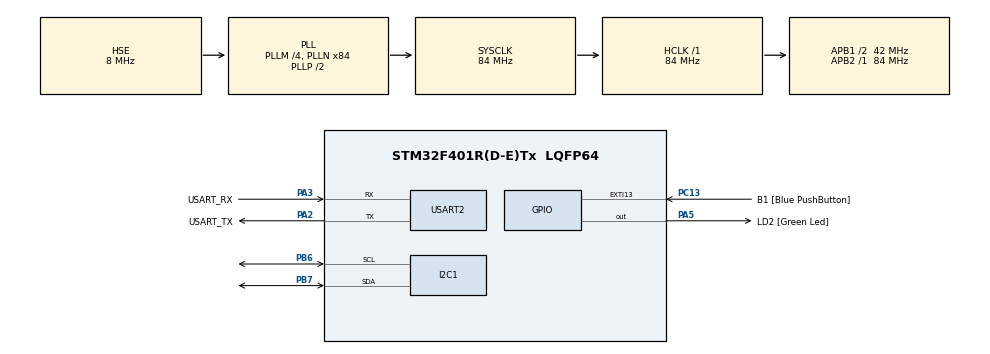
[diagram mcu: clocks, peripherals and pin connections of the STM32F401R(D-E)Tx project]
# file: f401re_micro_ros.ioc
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Dma.Request0=USART2_RX
Dma.Request1=USART2_TX
Dma.USART2_RX.0.Direction=DMA_PERIPH_TO_MEMORY
Dma.USART2_RX.0.FIFOMode=DMA_FIFOMODE_DISABLE
Dma.USART2_RX.0.Instance=DMA1_Stream5
Dma.USART2_RX.0.MemDataAlignment=DMA_MDATAALIGN_BYTE
Dma.USART2_RX.0.MemInc=DMA_MINC_ENABLE
Dma.USART2_RX.0.Mode=DMA_CIRCULAR
Dma.USART2_RX.0.PeriphDataAlignment=DMA_PDATAALIGN_BYTE
Dma.USART2_RX.0.PeriphInc=DMA_PINC_DISABLE
Dma.USART2_RX.0.Priority=DMA_PRIORITY_VERY_HIGH
Dma.USART2_TX.1.Direction=DMA_MEMORY_TO_PERIPH
Dma.USART2_TX.1.FIFOMode=DMA_FIFOMODE_DISABLE
Dma.USART2_TX.1.Instance=DMA1_Stream6
Dma.USART2_TX.1.MemDataAlignment=DMA_MDATAALIGN_BYTE
Dma.USART2_TX.1.MemInc=DMA_MINC_ENABLE
Dma.USART2_TX.1.Mode=DMA_NORMAL
Dma.USART2_TX.1.PeriphDataAlignment=DMA_PDATAALIGN_BYTE
Dma.USART2_TX.1.PeriphInc=DMA_PINC_DISABLE
Dma.USART2_TX.1.Priority=DMA_PRIORITY_VERY_HIGH
FREERTOS.Tasks01=defaultTask,24,3000,StartDefaultTask,Default,NULL,Static,defaultTaskBuffer,defaultTaskControlBlock
Mcu.Family=STM32F4
Mcu.Name=STM32F401R(D-E)Tx
Mcu.Package=LQFP64
NVIC.DMA1_Stream5_IRQn=true\:5\:0\:false\:false\:true\:true\:false\:true\:true
NVIC.DMA1_Stream6_IRQn=true\:5\:0\:false\:false\:true\:true\:false\:true\:true
NVIC.PriorityGroup=NVIC_PRIORITYGROUP_4
NVIC.TIM1_UP_TIM10_IRQn=true\:15\:0\:false\:false\:true\:false\:false\:true\:true
NVIC.TimeBase=TIM1_UP_TIM10_IRQn
NVIC.TimeBaseIP=TIM1
NVIC.USART2_IRQn=true\:5\:0\:false\:false\:true\:true\:true\:true\:true
PA13.GPIO_Label=TMS
PA13.Signal=SYS_JTMS-SWDIO
PA14.GPIO_Label=TCK
PA14.Signal=SYS_JTCK-SWCLK
PA2.GPIO_Label=USART_TX
PA2.GPIO_Mode=GPIO_MODE_AF_PP
PA2.GPIO_PuPd=GPIO_NOPULL
PA2.GPIO_Speed=GPIO_SPEED_FREQ_LOW
PA2.Mode=Asynchronous
PA2.Signal=USART2_TX
PA3.GPIO_Label=USART_RX
PA3.GPIO_Mode=GPIO_MODE_AF_PP
PA3.GPIO_PuPd=GPIO_NOPULL
PA3.GPIO_Speed=GPIO_SPEED_FREQ_LOW
PA3.Mode=Asynchronous
PA3.Signal=USART2_RX
PA5.GPIO_Label=LD2 [Green Led]
PA5.GPIO_Mode=GPIO_MODE_OUTPUT_PP
PA5.GPIO_PuPd=GPIO_NOPULL
PA5.GPIO_Speed=GPIO_SPEED_FREQ_LOW
PA5.Signal=GPIO_Output
PB3.GPIO_Label=SWO
PB3.Signal=SYS_JTDO-SWO
PB6.Mode=I2C
PB6.Signal=I2C1_SCL
PB7.Mode=I2C
PB7.Signal=I2C1_SDA
PC13-ANTI_TAMP.GPIO_Label=B1 [Blue PushButton]
PC13-ANTI_TAMP.GPIO_ModeDefaultEXTI=GPIO_MODE_IT_FALLING
PC13-ANTI_TAMP.GPIO_PuPd=GPIO_NOPULL
PC13-ANTI_TAMP.Signal=GPXTI13
PC14-OSC32_IN.Signal=RCC_OSC32_IN
PC15-OSC32_OUT.Signal=RCC_OSC32_OUT
PH0\ -\ OSC_IN.Mode=HSE-External-Oscillator
PH0\ -\ OSC_IN.Signal=RCC_OSC_IN
PH1\ -\ OSC_OUT.Mode=HSE-External-Oscillator
PH1\ -\ OSC_OUT.Signal=RCC_OSC_OUT
ProjectManager.HeapSize=0x200
ProjectManager.StackSize=0x400
ProjectManager.TargetToolchain=Makefile
RCC.48MHZClocksFreq_Value=24000000
RCC.AHBFreq_Value=84000000
RCC.APB1CLKDivider=RCC_HCLK_DIV2
RCC.APB1Freq_Value=42000000
RCC.APB1TimFreq_Value=84000000
RCC.APB2Freq_Value=84000000
RCC.APB2TimFreq_Value=84000000
RCC.CortexFreq_Value=84000000
RCC.HCLKFreq_Value=84000000
RCC.HSE_VALUE=8000000
RCC.HSI_VALUE=16000000
RCC.LSE_VALUE=32768
RCC.PLLM=4
RCC.PLLN=84
RCC.PLLQ=7
RCC.PLLSourceVirtual=RCC_PLLSOURCE_HSE
RCC.SYSCLKFreq_VALUE=84000000
RCC.SYSCLKSource=RCC_SYSCLKSOURCE_PLLCLK
RCC.VCOOutputFreq_Value=168000000
USART2.VirtualMode=VM_ASYNC
VP_FREERTOS_VS_CMSIS_V2.Mode=CMSIS_V2
VP_SYS_VS_tim1.Mode=TIM1
board=NUCLEO-F401RE

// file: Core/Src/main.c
/* USER CODE BEGIN Header */
/**
  ******************************************************************************
  * @file           : main.c
  * @brief          : Main program body
  ******************************************************************************
  * @attention
  *
  * Copyright (c) 2025 STMicroelectronics.
  * All rights reserved.
  *
  * This software is licensed under terms that can be found in the LICENSE file
  * in the root directory of this software component.
  * If no LICENSE file comes with this software, it is provided AS-IS.
  *
  ******************************************************************************
  */
/* USER CODE END Header */
#include "main.h"
#include "cmsis_os.h"
#include "dma.h"
#include "i2c.h"
#include "usart.h"
#include "gpio.h"

void SystemClock_Config(void);
void MX_FREERTOS_Init(void);

int main(void)
{

  /* MCU Configuration--------------------------------------------------------*/

  /* Reset of all peripherals, Initializes the Flash interface and the Systick. */
  HAL_Init();

  /* Configure the system clock */
  SystemClock_Config();

  /* Initialize all configured peripherals */
  MX_GPIO_Init();
  MX_DMA_Init();
  MX_USART2_UART_Init();
  MX_I2C1_Init();

  /* Init scheduler */
  osKernelInitialize();

  /* Call init function for freertos objects (in cmsis_os2.c) */
  MX_FREERTOS_Init();

  /* Start scheduler */
  osKernelStart();

  /* We should never get here as control is now taken by the scheduler */

  /* Infinite loop */
  while (1)
  {

  }
}

void SystemClock_Config(void)
{
  RCC_OscInitTypeDef RCC_OscInitStruct = {0};
  RCC_ClkInitTypeDef RCC_ClkInitStruct = {0};

  /** Configure the main internal regulator output voltage
  */
  __HAL_RCC_PWR_CLK_ENABLE();
  __HAL_PWR_VOLTAGESCALING_CONFIG(PWR_REGULATOR_VOLTAGE_SCALE2);

  /** Initializes the RCC Oscillators according to the specified parameters
  * in the RCC_OscInitTypeDef structure.
  */
  RCC_OscInitStruct.OscillatorType = RCC_OSCILLATORTYPE_HSE;
  RCC_OscInitStruct.HSEState = RCC_HSE_ON;
  RCC_OscInitStruct.PLL.PLLState = RCC_PLL_ON;
  RCC_OscInitStruct.PLL.PLLSource = RCC_PLLSOURCE_HSE;
  RCC_OscInitStruct.PLL.PLLM = 4;
  RCC_OscInitStruct.PLL.PLLN = 84;
  RCC_OscInitStruct.PLL.PLLP = RCC_PLLP_DIV2;
  RCC_OscInitStruct.PLL.PLLQ = 7;
  if (HAL_RCC_OscConfig(&RCC_OscInitStruct) != HAL_OK)
  {
    Error_Handler();
  }

  /** Initializes the CPU, AHB and APB buses clocks
  */
  RCC_ClkInitStruct.ClockType = RCC_CLOCKTYPE_HCLK|RCC_CLOCKTYPE_SYSCLK
                              |RCC_CLOCKTYPE_PCLK1|RCC_CLOCKTYPE_PCLK2;
  RCC_ClkInitStruct.SYSCLKSource = RCC_SYSCLKSOURCE_PLLCLK;
  RCC_ClkInitStruct.AHBCLKDivider = RCC_SYSCLK_DIV1;
  RCC_ClkInitStruct.APB1CLKDivider = RCC_HCLK_DIV2;
  RCC_ClkInitStruct.APB2CLKDivider = RCC_HCLK_DIV1;

  if (HAL_RCC_ClockConfig(&RCC_ClkInitStruct, FLASH_LATENCY_2) != HAL_OK)
  {
    Error_Handler();
  }
}

void HAL_TIM_PeriodElapsedCallback(TIM_HandleTypeDef *htim)
{
  if (htim->Instance == TIM1)
  {
    HAL_IncTick();
  }
}

void Error_Handler(void)
{
  __disable_irq();
  while (1)
  {
  }
}

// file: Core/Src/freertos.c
/* USER CODE BEGIN Header */
/**
  ******************************************************************************
  * File Name          : freertos.c
  * Description        : Code for freertos applications
  ******************************************************************************
  * @attention
  *
  * Copyright (c) 2025 STMicroelectronics.
  * All rights reserved.
  *
  * This software is licensed under terms that can be found in the LICENSE file
  * in the root directory of this software component.
  * If no LICENSE file comes with this software, it is provided AS-IS.
  *
  ******************************************************************************
  */
/* USER CODE END Header */

#include "FreeRTOS.h"
#include "task.h"
#include "main.h"
#include "cmsis_os.h"

/* USER CODE BEGIN Includes */
#include <rcl/rcl.h>
#include <rcl/error_handling.h>
#include <rclc/rclc.h>
#include <rclc/executor.h>
#include <uxr/client/transport.h>
#include <rmw_microxrcedds_c/config.h>
#include <rmw_microros/rmw_microros.h>

#include <std_msgs/msg/int32.h>
#include <std_msgs/msg/float32.h>
#include <stdbool.h>
#include <usart.h>
/* USER CODE END Includes */

typedef StaticTask_t osStaticThreadDef_t;

/* USER CODE BEGIN Variables */
float joint_values[7] = {0};

/* USER CODE END Variables */
/* Definitions for defaultTask */
osThreadId_t defaultTaskHandle;
uint32_t defaultTaskBuffer[ 3000 ];
osStaticThreadDef_t defaultTaskControlBlock;
const osThreadAttr_t defaultTask_attributes = {
  .name = "defaultTask",
  .cb_mem = &defaultTaskControlBlock,
  .cb_size = sizeof(defaultTaskControlBlock),
  .stack_mem = &defaultTaskBuffer[0],
  .stack_size = sizeof(defaultTaskBuffer),
  .priority = (osPriority_t) osPriorityNormal,
};

/* USER CODE BEGIN FunctionPrototypes */
bool cubemx_transport_open(struct uxrCustomTransport * transport);
bool cubemx_transport_close(struct uxrCustomTransport * transport);
size_t cubemx_transport_write(struct uxrCustomTransport* transport, const uint8_t * buf, size_t len, uint8_t * err);
size_t cubemx_transport_read(struct uxrCustomTransport* transport, uint8_t* buf, size_t len, int timeout, uint8_t* err);

void * microros_allocate(size_t size, void * state);
void microros_deallocate(void * pointer, void * state);
void * microros_reallocate(void * pointer, size_t size, void * state);
void * microros_zero_allocate(size_t number_of_elements, size_t size_of_element, void * state);
void servo_1_callback(const void * msgin) {
  const std_msgs__msg__Float32 * msg = (const std_msgs__msg__Float32 *)msgin;
  joint_values[0] = msg->data;
}
void servo_2_callback(const void * msgin) { joint_values[1] = ((std_msgs__msg__Float32 *)msgin)->data; }
void servo_3_callback(const void * msgin) { joint_values[2] = ((std_msgs__msg__Float32 *)msgin)->data; }
void servo_4_callback(const void * msgin) { joint_values[3] = ((std_msgs__msg__Float32 *)msgin)->data; }
void servo_5_callback(const void * msgin) { joint_values[4] = ((std_msgs__msg__Float32 *)msgin)->data; }
void servo_6_callback(const void * msgin) { joint_values[5] = ((std_msgs__msg__Float32 *)msgin)->data; }
void stepper_callback (const void * msgin) { joint_values[6] = ((std_msgs__msg__Float32 *)msgin)->data; }

/* USER CODE END FunctionPrototypes */

void StartDefaultTask(void *argument);

void MX_FREERTOS_Init(void); /* (MISRA C 2004 rule 8.1) */

void MX_FREERTOS_Init(void) {

  /* Create the thread(s) */
  /* creation of defaultTask */
  defaultTaskHandle = osThreadNew(StartDefaultTask, NULL, &defaultTask_attributes);

}

void StartDefaultTask(void *argument)
{
  /* USER CODE BEGIN StartDefaultTask */
  /* Infinite loop */
  // micro-ROS configuration

  rmw_uros_set_custom_transport(
    true,
    (void *) &huart2,
    cubemx_transport_open,
    cubemx_transport_close,
    cubemx_transport_write,
    cubemx_transport_read);

  rcl_allocator_t freeRTOS_allocator = rcutils_get_zero_initialized_allocator();
  freeRTOS_allocator.allocate = microros_allocate;
  freeRTOS_allocator.deallocate = microros_deallocate;
  freeRTOS_allocator.reallocate = microros_reallocate;
  freeRTOS_allocator.zero_allocate =  microros_zero_allocate;

  if (!rcutils_set_default_allocator(&freeRTOS_allocator)) {
      printf("Error on default allocators (line %d)\n", __LINE__);
  }

  // micro-ROS app

  rcl_publisher_t publisher;
  std_msgs__msg__Float32 msg;
  rclc_support_t support;
  rcl_allocator_t allocator;
  rcl_node_t node;
  rcl_subscription_t subscriber_1;
  rcl_subscription_t subscriber_2;
  rcl_subscription_t subscriber_3;
  rcl_subscription_t subscriber_4;
  rcl_subscription_t subscriber_5;
  rcl_subscription_t subscriber_6;
  rcl_subscription_t subscriber_7;
  std_msgs__msg__Float32 msg1;
  std_msgs__msg__Float32 msg2;
  std_msgs__msg__Float32 msg3;
  std_msgs__msg__Float32 msg4;
  std_msgs__msg__Float32 msg5;
  std_msgs__msg__Float32 msg6;
  std_msgs__msg__Float32 msg7;
  const rosidl_message_type_support_t * type_support = ROSIDL_GET_MSG_TYPE_SUPPORT(std_msgs, msg, Float32);

  allocator = rcl_get_default_allocator();

  //create init_options
  rclc_support_init(&support, 0, NULL, &allocator);

  // create node
  rclc_node_init_default(&node, "cubemx_node", "", &support);

  rclc_subscription_init_default(&subscriber_1, &node, type_support, "/servo_1");
  rclc_subscription_init_default(&subscriber_2, &node, type_support, "/servo_2");
  rclc_subscription_init_default(&subscriber_3, &node, type_support, "/servo_3");
  rclc_subscription_init_default(&subscriber_4, &node, type_support, "/servo_4");
  rclc_subscription_init_default(&subscriber_5, &node, type_support, "/servo_5");
  rclc_subscription_init_default(&subscriber_6, &node, type_support, "/servo_6");
  rclc_subscription_init_default(&subscriber_7, &node, type_support, "/stepper");

  rclc_executor_t executor;

  rclc_executor_init(&executor, &support.context, 7, &allocator);  // 7 subscription
  rclc_executor_add_subscription(&executor, &subscriber_1, &msg1, &servo_1_callback, ON_NEW_DATA);
  rclc_executor_add_subscription(&executor, &subscriber_2, &msg2, &servo_2_callback, ON_NEW_DATA);
  rclc_executor_add_subscription(&executor, &subscriber_3, &msg3, &servo_3_callback, ON_NEW_DATA);
  rclc_executor_add_subscription(&executor, &subscriber_4, &msg4, &servo_4_callback, ON_NEW_DATA);
  rclc_executor_add_subscription(&executor, &subscriber_5, &msg5, &servo_5_callback, ON_NEW_DATA);
  rclc_executor_add_subscription(&executor, &subscriber_6, &msg6, &servo_6_callback, ON_NEW_DATA);
  rclc_executor_add_subscription(&executor, &subscriber_7, &msg7, &stepper_callback, ON_NEW_DATA);

  // create publisher
  rclc_publisher_init_default(
    &publisher,
    &node,
    ROSIDL_GET_MSG_TYPE_SUPPORT(std_msgs, msg, Float32),
    "cubemx_publisher");

  for(;;)
  {
	 msg.data = joint_values[0];
    rcl_ret_t ret = rcl_publish(&publisher, &msg, NULL);
    if (ret != RCL_RET_OK)
    {
      printf("Error publishing (line %d)\n", __LINE__);
    }
    rclc_executor_spin_some(&executor, RCL_MS_TO_NS(10));
    osDelay(10);
  }
  /* USER CODE END StartDefaultTask */
}
